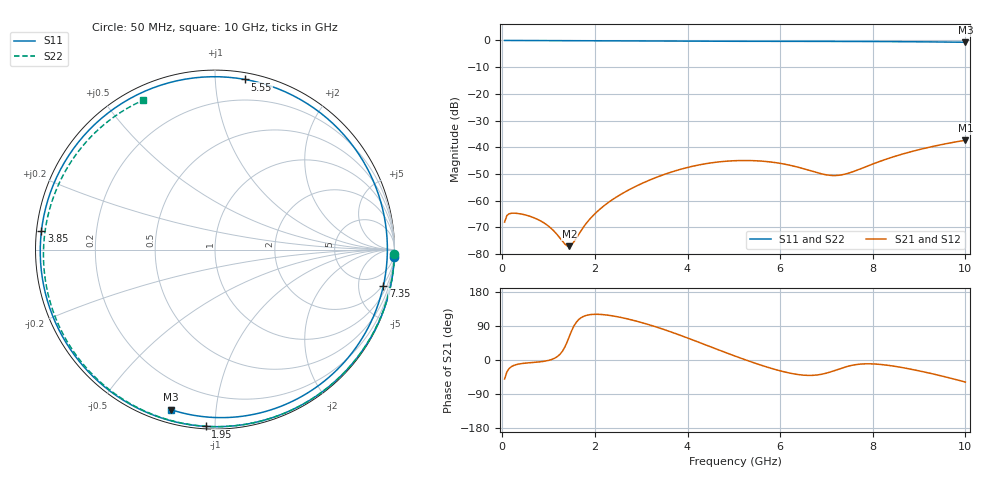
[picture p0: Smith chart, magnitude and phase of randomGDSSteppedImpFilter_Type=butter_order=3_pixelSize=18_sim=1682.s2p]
! freq	dB(S11)	phase(S11)	dB(S12)	phase(S12)
!  dB(S21)	phase(S21)	dB(S22)	phase(S22)
!S-par simulation data
#  GHz  S  DB  R 50
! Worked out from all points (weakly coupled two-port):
!   200 points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, 50 MHz to 10 GHz, reference 50 ohm
!   highest |S21| = -37.40 dB at 10 GHz (marker M1); lowest = -77.1 dB at 1.45 GHz (marker M2)
!   lowest |S11| = -0.7 dB at 10 GHz (marker M3), VSWR 25.57, Z = 3.08 - j37.9 ohm
!   |S11| at or under -10 dB: nowhere
!   |S22| runs from -0.7 to 0.0 dB; largest |S21 - S12| = 0
!   S11 on the Smith chart (normalised r, x): 50 MHz: 0, -47; 1.95 GHz: 0.01, -0.95; 3.85 GHz: 0.01, +0.05; 5.55 GHz: 0.05, +1.19; 7.35 GHz: 1.78, -9.05; 10 GHz: 0.06, -0.76
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0.05  -0.00 -2.4  -68.03 -50.1  -68.03 -50.1  -0.00 -1.3
0.1  -0.00 -4.9  -65.55 -31.1  -65.55 -31.1  -0.00 -2.6
0.2  -0.00 -9.7  -64.73 -17.3  -64.73 -17.3  -0.00 -5.2
0.65  -0.03 -31.4  -66.19 -6.6  -66.19 -6.6  -0.02 -16.9
1  -0.06 -48.1  -69.60 -1.0  -69.60 -1.0  -0.03 -25.8
1.35  -0.08 -64.7  -76.26 33.9  -76.26 33.9  -0.04 -34.7
1.45  -0.09 -69.4  -77.06 62.9  -77.06 62.9  -0.05 -37.2
1.75  -0.11 -83.6  -69.98 114.8  -69.98 114.8  -0.06 -44.7
1.95  -0.12 -93.0  -65.79 120.4  -65.79 120.4  -0.06 -49.6
2.65  -0.16 -126.3  -56.75 110.0  -56.75 110.0  -0.08 -66.6
3.4  -0.21 -163.0  -50.81 84.2  -50.81 84.2  -0.11 -84.1
3.85  -0.24 173.9  -48.27 65.0  -48.27 65.0  -0.13 -94.3
4.4  -0.28 144.6  -46.15 39.4  -46.15 39.4  -0.15 -106.6
5.05  -0.31 108.3  -45.03 9.2  -45.03 9.2  -0.18 -120.8
5.55  -0.33 80.0  -45.14 -12.2  -45.14 -12.2  -0.21 -131.7
6.15  -0.34 46.8  -46.52 -33.1  -46.52 -33.1  -0.25 -144.7
6.7  -0.34 18.3  -49.04 -40.5  -49.04 -40.5  -0.30 -156.9
7.35  -0.36 -12.2  -50.28 -20.6  -50.28 -20.6  -0.36 -171.7
7.85  -0.38 -33.0  -47.31 -10.1  -47.31 -10.1  -0.41 176.3
8.35  -0.42 -52.0  -44.12 -14.4  -44.12 -14.4  -0.47 163.8
9.15  -0.52 -79.2  -40.28 -32.6  -40.28 -32.6  -0.57 141.9
10  -0.68 -105.5  -37.40 -58.2  -37.40 -58.2  -0.69 115.7
